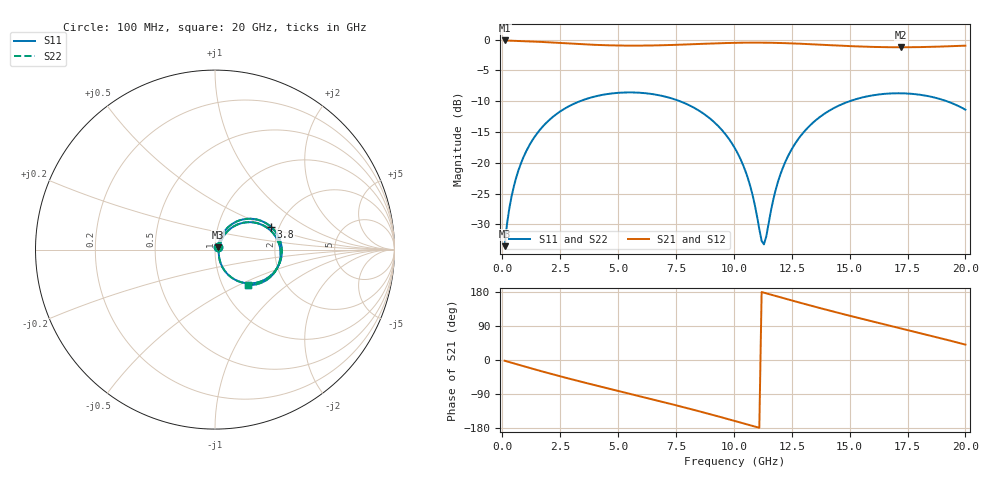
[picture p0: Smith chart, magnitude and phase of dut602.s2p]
! Touchstone file exported from HFSS 2026.1.0
!  File:  C:/ffzhzh/LocalFiles/Ansys_Project_Files/temp_train_TSV_RDL_602_1783122240_46604.aedt
!  Generated:  07:56:13 AM Jul  4, 2026
!  Design:  TSV_RDL
!  Project:  temp_train_TSV_RDL_602_1783122240_46604
! Variables:
!  h_bsmrdl = 5.93um
!  h_ox = 20um
!  h_rdl = 5um
!  h_sub = 55.45um
!  h_tmrdl = 5.53um
!  h_tsv = 55.45um
!  h_via = 3um
!  l_bsmrdl = 892.4um
!  l_sub = 5791.74um
!  l_tmrdl = 644.09um
!  m_sub = 200um
!  pitch = 39.84um
!  r_tsv = 10.72um
!  s_tmrdl = 10um
!  w_bsmrdl = 20.3um
!  w_sub = 500um
!  w_tmrdl = 25.76um
!  x_tsv_center1 = 656.97um
!  x_tsv_center2 = 1569.67um
!  x_tsv_center3 = 2239.52um
!  x_tsv_center4 = 3152.22um
!  x_tsv_center5 = 3822.07um
!  x_tsv_center6 = 4734.77um
# GHz S MA R 50.000000
! Terminal data exported
! Port[1] = TM_RDL1_1_T1
! Port[2] = TM_RDL5_1_T1
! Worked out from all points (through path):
!   200 points, 100 MHz to 20 GHz, reference 50 ohm
!   highest |S21| = -0.14 dB at 100 MHz (marker M1); lowest = -1.2 dB at 17.2 GHz (marker M2)
!   group delay of S21, straight-line fit = 44.4 ps
!   lowest |S11| = -33.5 dB at 100 MHz (marker M3), VSWR 1.04, Z = 51.6 + j1.39 ohm
!   |S11| at or under -10 dB: start of sweep to 3.353 GHz; 7.671 GHz to 15 GHz (7.328 GHz wide, 64.7 % of centre); 19.2 GHz to end of sweep
!   |S22| runs from -33.5 to -8.6 dB; largest |S21 - S12| = 1.7e-14
!   S11 on the Smith chart (normalised r, x): 100 MHz: 1.03, +0.03; 3.8 GHz: 1.82, +0.52; 20 GHz: 1.32, -0.56
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0.1  0.02108 39.5  0.9841 -1.9  0.9841 -1.9  0.02108 39.5
! Gamma 0 0 0 0
! Port Impedance 50 0 50 0
0.3  0.04229 59.3  0.9813 -5.5  0.9813 -5.5  0.04229 59.3
0.5  0.0646 63.8  0.979 -9.0  0.979 -9.0  0.0646 63.8
1.1  0.1314 61.1  0.9699 -19.5  0.9699 -19.5  0.1314 61.1
2.1  0.229 47.2  0.9477 -36.5  0.9477 -36.5  0.229 47.2
3.5  0.3239 26.3  0.9154 -58.8  0.9154 -58.8  0.3239 26.2
3.8  0.3376 21.9  0.9099 -63.5  0.9099 -63.5  0.3376 21.9
5.3  0.3724 0.4  0.894 -86.1  0.894 -86.1  0.3724 0.3
6.8  0.3526 -20.9  0.8988 -108.7  0.8988 -108.7  0.3527 -21.0
8.8  0.2425 -49.5  0.9262 -140.2  0.9262 -140.2  0.2426 -49.6
10.1  0.1259 -65.7  0.9419 -161.9  0.9419 -161.9  0.126 -65.8
10.7  0.06561 -66.2  0.9449 -172.1  0.9449 -172.1  0.06559 -66.4
11.2  0.02328 -25.0  0.9445 179.3  0.9445 179.3  0.02304 -25.5
11.3  0.02181 0.6  0.9441 177.6  0.9441 177.6  0.02151 0.5
11.8  0.0597 55.0  0.9407 169.0  0.9407 169.0  0.05952 55.2
12.1  0.08957 57.4  0.9374 163.9  0.9374 163.9  0.08943 57.5
13.4  0.2105 44.6  0.9159 142.2  0.9159 142.2  0.2104 44.7
15  0.3163 22.4  0.8857 116.8  0.8857 116.8  0.3162 22.4
16.7  0.3651 -1.3  0.8675 91.1  0.8675 91.1  0.3651 -1.3
17.2  0.3669 -8.3  0.8665 83.6  0.8665 83.6  0.3668 -8.2
18.6  0.3411 -27.6  0.8742 62.5  0.8742 62.5  0.341 -27.6
20  0.27 -47.0  0.893 40.6  0.893 40.6  0.27 -46.9
